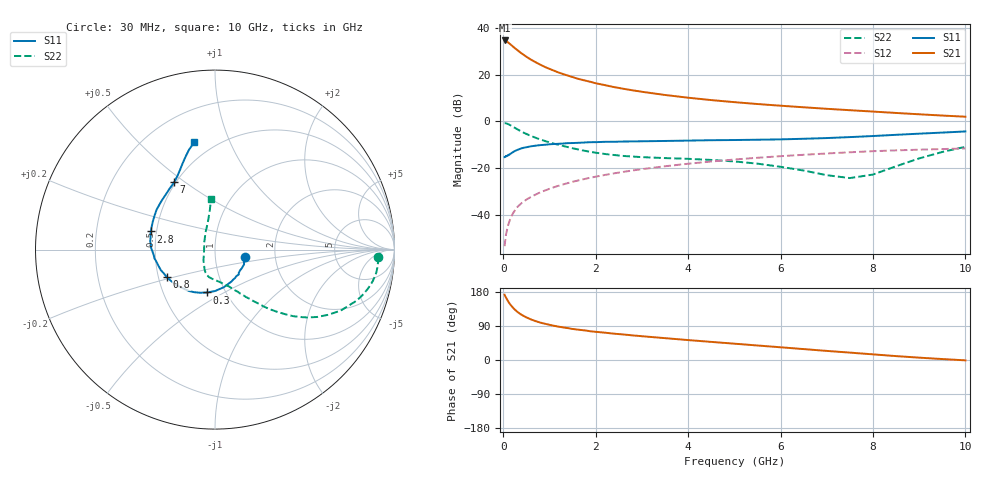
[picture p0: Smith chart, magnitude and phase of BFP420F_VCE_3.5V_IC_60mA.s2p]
! Infineon Technologies  Discrete & RF Semiconductors
! BFP420F
! VCE =  3.5 V,  IC =  60 mA
! Common Emitter S-Parameters:  Sep 2011
# GHz  S  MA  R  50
!  f  S11  S21  S12  S22
! GHz  MAG  ANG  MAG  ANG  MAG  ANG  MAG  ANG
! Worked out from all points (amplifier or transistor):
!   54 points, 30 MHz to 10 GHz, reference 50 ohm
!   highest |S21| = 34.7 dB at 30 MHz (marker M1)
!   |S21| within 3 dB of that: start of sweep to 233.8 MHz
!   unconditionally stable (mu >= 1): 1.195 GHz to end of sweep
!   at 120 MHz: K = 0.47, MSG = 38.7 dB, |S12| = -43.7 dB
!   at 1.3 GHz: K = 1.02, MAG = 22.8 dB, |S12| = -27.0 dB
!   at 10 GHz: K = 1.21, MAG = 4.0 dB, |S12| = -11.6 dB
!   S11 on the Smith chart (normalised r, x): 30 MHz: 1.39, -0.12; 300 MHz: 0.82, -0.42; 800 MHz: 0.55, -0.19; 2.8 GHz: 0.47, +0.11; 7 GHz: 0.49, +0.46; 10 GHz: 0.39, +0.75
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0.03  0.1718 -14.0  54.48 172.0  0.0021 91.1  0.9085 -2.6
0.06  0.1818 -27.0  52.91 164.8  0.0038 83.0  0.9081 -8.0
0.08  0.1818 -35.0  51.28 160.2  0.0046 83.9  0.8962 -11.3
0.12  0.1898 -51.6  48.18 151.9  0.0065 80.8  0.8608 -17.0
0.15  0.1999 -62.5  45.39 146.8  0.0079 78.3  0.8301 -20.6
0.2  0.2151 -76.6  41.22 139.5  0.0102 76.2  0.7784 -25.9
0.25  0.2308 -89.9  37.36 133.1  0.0122 74.5  0.7269 -30.0
0.3  0.2429 -100.4  34.2 127.7  0.0143 73.4  0.6819 -33.4
0.35  0.2543 -109.0  31.22 123.1  0.016 72.3  0.6386 -36.3
0.4  0.2645 -116.3  28.63 119.1  0.0177 71.6  0.6018 -38.6
0.5  0.2781 -128.0  24.42 112.5  0.0209 70.7  0.5378 -42.3
0.6  0.292 -137.4  21.12 107.1  0.0239 70.3  0.4857 -45.3
0.8  0.3094 -150.4  16.5 98.7  0.0299 70.0  0.41 -49.8
1.2  0.3305 -166.5  11.15 87.9  0.0416 69.5  0.313 -57.1
1.7  0.3495 -178.7  7.822 79.0  0.0562 68.2  0.2404 -65.4
2  0.3582 175.6  6.576 74.4  0.065 67.0  0.2126 -71.1
2.8  0.3713 164.2  4.643 64.9  0.0885 63.3  0.1757 -85.5
3.5  0.3799 155.9  3.686 57.7  0.1088 59.6  0.1631 -95.9
5.5  0.4038 137.2  2.357 38.3  0.1656 47.0  0.124 -118.3
7  0.4384 121.2  1.862 24.0  0.2045 36.8  0.0701 -152.5
8.5  0.5149 110.4  1.516 10.3  0.2386 25.8  0.1088 119.0
10  0.608 101.0  1.259 -0.9  0.2625 16.3  0.2849 94.5
